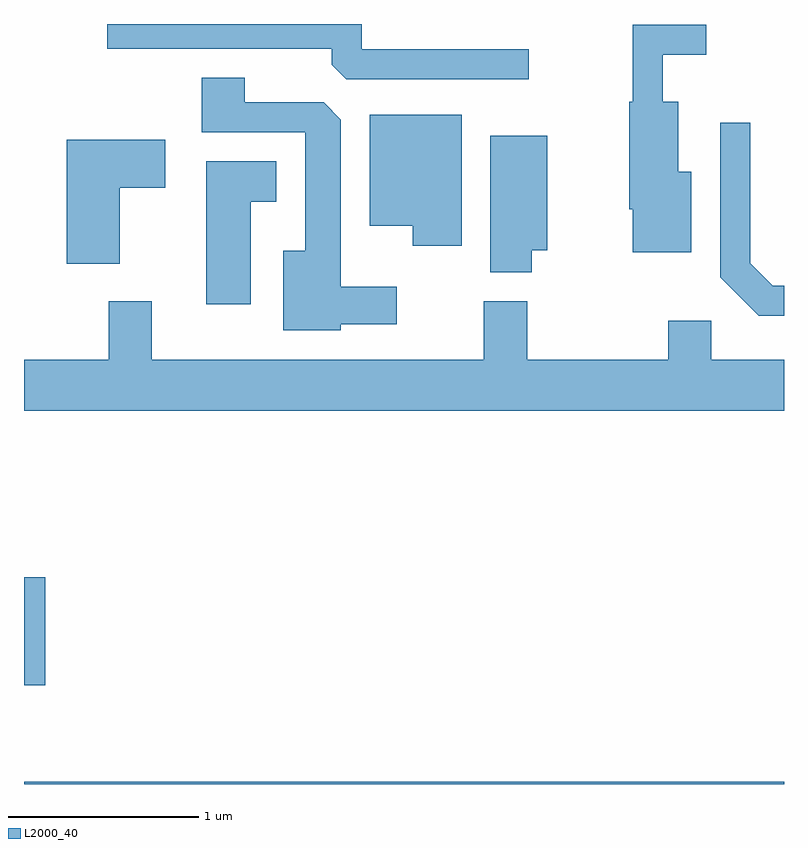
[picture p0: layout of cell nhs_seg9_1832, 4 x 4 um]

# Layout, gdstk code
import gdstk
lib = gdstk.Library(unit=1e-6, precision=1e-09)
def R(c, l, rs):  # rectangles x0, y0, x1, y1
    for r in rs: c.add(gdstk.rectangle(r[:2], r[2:], *l))
def P(c, l, *ps):  # polygons
    for p in ps: c.add(gdstk.Polygon(p, *l))
L2000_40 = (2000, 40)

nhs_seg9_1832 = lib.new_cell('nhs_seg9_1832')
R(nhs_seg9_1832, L2000_40, [(237.611,2076.432,241.611,2076.444), (237.611,2076.951,237.724,2077.519)])
P(nhs_seg9_1832, L2000_40, [(240.268,2080.299),(239.389,2080.299),(239.389,2080.432),(238.048,2080.432),(238.048,2080.301),(239.231,2080.301),(239.231,2080.217),(239.307,2080.141),(240.268,2080.141)],
  [(241.124,2079.654),(241.054,2079.654),(241.054,2080.024),(240.974,2080.024),(240.974,2080.271),(241.203,2080.271),(241.203,2080.429),(240.816,2080.429),(240.816,2080.024),(240.796,2080.024),(240.796,2079.456),(240.816,2079.456),(240.816,2079.231),(241.124,2079.231)],
  [(239.279,2078.851),(239.574,2078.851),(239.574,2079.049),(239.279,2079.049),(239.279,2079.929),(239.189,2080.019),(238.774,2080.019),(238.774,2080.149),(238.546,2080.149),(238.546,2079.861),(239.091,2079.861),(239.091,2079.239),(238.976,2079.239),(238.976,2078.821),(239.279,2078.821)],
  [(239.914,2079.954),(239.431,2079.954),(239.431,2079.371),(239.656,2079.371),(239.656,2079.266),(239.914,2079.266)],
  [(241.611,2079.054),(241.552,2079.054),(241.434,2079.172),(241.434,2079.913),(241.276,2079.913),(241.276,2079.099),(241.479,2078.896),(241.611,2078.896)],
  [(240.284,2079.241),(240.364,2079.241),(240.364,2079.844),(240.066,2079.844),(240.066,2079.126),(240.284,2079.126)],
  [(238.114,2079.571),(238.354,2079.571),(238.354,2079.824),(237.836,2079.824),(237.836,2079.171),(238.114,2079.171)],
  [(238.804,2079.496),(238.939,2079.496),(238.939,2079.709),(238.571,2079.709),(238.571,2078.956),(238.804,2078.956)],
  [(241.611,2078.664),(241.229,2078.664),(241.229,2078.869),(241.001,2078.869),(241.001,2078.664),(240.259,2078.664),(240.259,2078.974),(240.031,2078.974),(240.031,2078.664),(238.284,2078.664),(238.284,2078.974),(238.056,2078.974),(238.056,2078.664),(237.611,2078.664),(237.611,2078.396),(241.611,2078.396)])

lib.write_gds('nhs_seg9_1832.gds')
